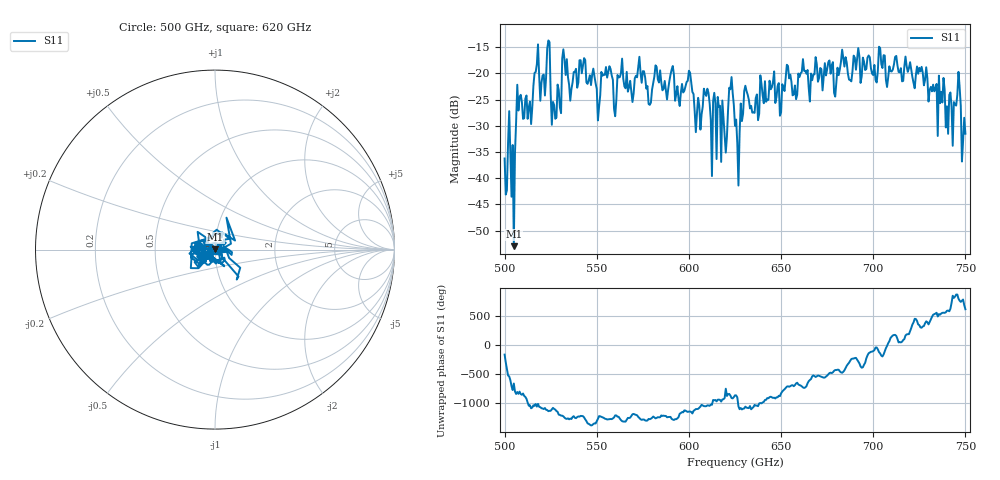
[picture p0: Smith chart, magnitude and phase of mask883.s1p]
!Created with skrf (http://scikit-rf.org).
# GHz S MA R 50.0
!freq magS11 angS11
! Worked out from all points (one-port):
!   401 points, 500 GHz to 750 GHz, reference 50 ohm
!   lowest |S11| = -53.0 dB at 505 GHz (marker M1), VSWR 1.00, Z = 50.1 + j0.195 ohm
!   |S11| at or under -10 dB: start of sweep to end of sweep
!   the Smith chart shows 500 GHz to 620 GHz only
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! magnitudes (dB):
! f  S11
! 500 GHz  -36.2
! 503.1 GHz  -35.1
! 505 GHz  -53.0
! 508.1 GHz  -24.6
! 513.8 GHz  -25.4
! 516.9 GHz  -19.7
! 520.6 GHz  -20.4
! 523.8 GHz  -13.7
! 526.9 GHz  -26.0
! 531.2 GHz  -17.2
! 542.5 GHz  -18.5
! 550.6 GHz  -29.0
! 562.5 GHz  -20.7
! 593.8 GHz  -22.4
! 600 GHz  -19.5
! 605 GHz  -24.7
! 609.4 GHz  -24.3
! 618.8 GHz  -28.5
! 623.1 GHz  -20.7
! 625 GHz  -30.0
! 626.2 GHz  -33.4
! 631.2 GHz  -23.4
! 656.2 GHz  -24.2
! 687.5 GHz  -21.3
! 718.8 GHz  -19.7
! 741.9 GHz  -23.6
! 746.2 GHz  -19.7
! 750 GHz  -31.5
